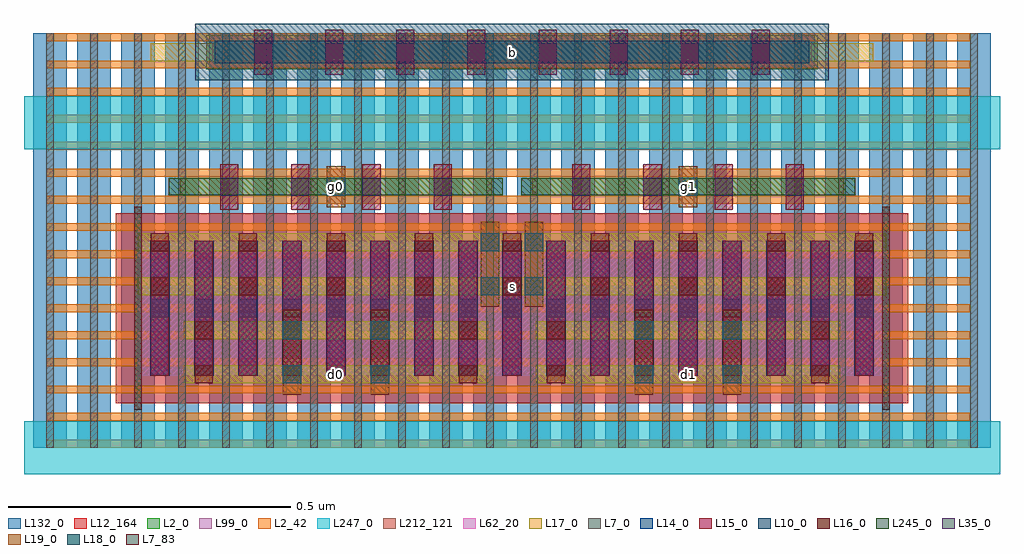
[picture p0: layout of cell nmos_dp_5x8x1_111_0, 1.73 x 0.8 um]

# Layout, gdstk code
import gdstk
lib = gdstk.Library(unit=1e-6, precision=1e-12)
def R(c, l, rs):  # rectangles x0, y0, x1, y1
    for r in rs: c.add(gdstk.rectangle(r[:2], r[2:], *l))
def A(c, l, x, y, w, h, nx, ny, dx, dy):  # array of equal rectangles
    R(c, l, [(x+i*dx, y+j*dy, x+i*dx+w, y+j*dy+h) for i in range(nx) for j in range(ny)])
L2_0 = (2, 0)
L2_42 = (2, 42)
L7_0 = (7, 0)
L7_83 = (7, 83)
L10_0 = (10, 0)
L12_164 = (12, 164)
L14_0 = (14, 0)
L15_0 = (15, 0)
L16_0 = (16, 0)
L17_0 = (17, 0)
L18_0 = (18, 0)
L19_0 = (19, 0)
L35_0 = (35, 0)
L62_20 = (62, 20)
L99_0 = (99, 0)
L132_0 = (132, 0)
L212_121 = (212, 121)
L245_0 = (245, 0)
L247_0 = (247, 0)

nmos_dp_5x8x1_111_0 = lib.new_cell('nmos_dp_5x8x1_111_0')
R(nmos_dp_5x8x1_111_0, L2_0, [(0.186,0.127,1.512,0.367), (0.3074,0.671,1.3906,0.731)])
A(nmos_dp_5x8x1_111_0, L2_42, 0.023, 0, 1.638, 0.014, 1, 16, 0, 0.048)
A(nmos_dp_5x8x1_111_0, L7_0, 0.023, 0, 0.014, 0.734, 22, 1, 0.078, 0)
R(nmos_dp_5x8x1_111_0, L7_83, [(0.179,0.067,0.193,0.427), (1.505,0.067,1.519,0.427)])
R(nmos_dp_5x8x1_111_0, L10_0, [(0.2874,0.651,1.4106,0.751)])
R(nmos_dp_5x8x1_111_0, L12_164, [(0.147,0.079,1.551,0.415)])
A(nmos_dp_5x8x1_111_0, L14_0, 0.208, 0.127, 0.034, 0.24, 17, 1, 0.078, 0)
R(nmos_dp_5x8x1_111_0, L14_0, [(0.3224,0.681,1.3756,0.721)])
A(nmos_dp_5x8x1_111_0, L15_0, 0.209, 0.127, 0.032, 0.24, 17, 1, 0.078, 0)
A(nmos_dp_5x8x1_111_0, L15_0, 0.332, 0.422, 0.032, 0.08, 4, 1, 0.126, 0)
A(nmos_dp_5x8x1_111_0, L15_0, 0.956, 0.422, 0.032, 0.08, 4, 1, 0.126, 0)
A(nmos_dp_5x8x1_111_0, L15_0, 0.392, 0.661, 0.032, 0.08, 8, 1, 0.126, 0)
A(nmos_dp_5x8x1_111_0, L16_0, 0.287, 0.114, 0.032, 0.032, 8, 2, 0.156, 0.078)
A(nmos_dp_5x8x1_111_0, L16_0, 0.209, 0.27, 0.032, 0.032, 9, 2, 0.156, 0.078)
A(nmos_dp_5x8x1_111_0, L16_0, 0.332, 0.446, 0.032, 0.032, 4, 1, 0.126, 0)
A(nmos_dp_5x8x1_111_0, L16_0, 0.956, 0.446, 0.032, 0.032, 4, 1, 0.126, 0)
A(nmos_dp_5x8x1_111_0, L16_0, 0.392, 0.685, 0.032, 0.032, 8, 1, 0.126, 0)
R(nmos_dp_5x8x1_111_0, L17_0, [(0.267,0.114,0.807,0.146), (0.891,0.114,1.431,0.146), (0.267,0.192,0.807,0.224), (0.891,0.192,1.431,0.224), (0.186,0.27,1.512,0.302), (0.186,0.348,1.512,0.38), (0.261,0.446,0.813,0.478), (0.885,0.446,1.437,0.478), (0.209,0.685,1.489,0.717)])
R(nmos_dp_5x8x1_111_0, L18_0, [(0.443,0.114,0.475,0.146), (0.599,0.114,0.631,0.146), (1.067,0.114,1.099,0.146), (1.223,0.114,1.255,0.146), (0.443,0.192,0.475,0.224), (0.599,0.192,0.631,0.224), (1.067,0.192,1.099,0.224), (1.223,0.192,1.255,0.224), (0.794,0.27,0.826,0.302), (0.872,0.27,0.904,0.302), (0.794,0.348,0.826,0.38), (0.872,0.348,0.904,0.38), (0.521,0.446,0.553,0.478), (1.145,0.446,1.177,0.478)])
R(nmos_dp_5x8x1_111_0, L19_0, [(0.443,0.094,0.475,0.244), (0.599,0.094,0.631,0.244), (1.067,0.094,1.099,0.244), (1.223,0.094,1.255,0.244), (0.794,0.25,0.826,0.4), (0.872,0.25,0.904,0.4), (0.521,0.426,0.553,0.499), (1.145,0.426,1.177,0.499)])
A(nmos_dp_5x8x1_111_0, L35_0, 0.209, 0.231, 0.032, 0.032, 17, 1, 0.078, 0)
A(nmos_dp_5x8x1_111_0, L35_0, 0.332, 0.446, 0.032, 0.032, 4, 1, 0.126, 0)
A(nmos_dp_5x8x1_111_0, L35_0, 0.956, 0.446, 0.032, 0.032, 4, 1, 0.126, 0)
A(nmos_dp_5x8x1_111_0, L35_0, 0.392, 0.685, 0.032, 0.032, 8, 1, 0.126, 0)
R(nmos_dp_5x8x1_111_0, L62_20, [(0.186,0.127,1.512,0.367)])
R(nmos_dp_5x8x1_111_0, L99_0, [(0.186,0.127,1.512,0.367), (0.3174,0.676,1.3806,0.726)])
A(nmos_dp_5x8x1_111_0, L132_0, 0, 0, 0.06, 0.734, 22, 1, 0.078, 0)
R(nmos_dp_5x8x1_111_0, L212_121, [(0.186,0.127,1.512,0.367)])
R(nmos_dp_5x8x1_111_0, L245_0, [(0.241,0.447,0.833,0.477), (0.865,0.447,1.457,0.477)])
R(nmos_dp_5x8x1_111_0, L247_0, [(-0.016,-0.047,1.714,0.047), (-0.016,0.529,1.714,0.623)])
nmos_dp_5x8x1_111_0.add(gdstk.Label('s', (0.849,0.286), layer=16, texttype=20))
nmos_dp_5x8x1_111_0.add(gdstk.Label('d1', (1.161,0.13), layer=16, texttype=20))
nmos_dp_5x8x1_111_0.add(gdstk.Label('d0', (0.537,0.13), layer=16, texttype=20))
nmos_dp_5x8x1_111_0.add(gdstk.Label('g0', (0.537,0.4625), layer=16, texttype=20))
nmos_dp_5x8x1_111_0.add(gdstk.Label('g1', (1.161,0.4625), layer=16, texttype=20))
nmos_dp_5x8x1_111_0.add(gdstk.Label('b', (0.849,0.701), layer=16, texttype=20))

lib.write_gds('nmos_dp_5x8x1_111_0.gds')
